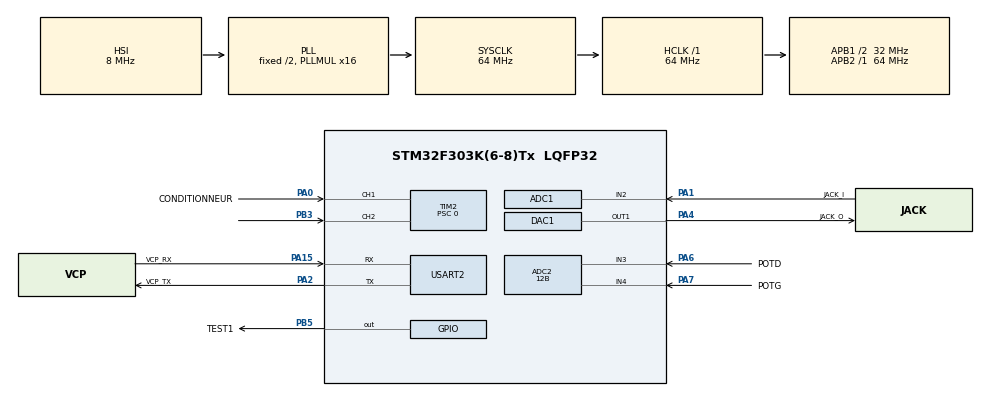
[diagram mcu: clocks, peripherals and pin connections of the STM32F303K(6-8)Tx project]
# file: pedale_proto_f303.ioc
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ADC1.Channel-0\#ChannelRegularConversion=ADC_CHANNEL_2
ADC1.ClockPrescaler=ADC_CLOCK_SYNC_PCLK_DIV4
ADC1.DMAContinuousRequests=ENABLE
ADC1.ExternalTrigConv=ADC_EXTERNALTRIGCONV_T15_TRGO
ADC1.NbrOfConversionFlag=1
ADC1.Offset-0\#ChannelRegularConversion=0
ADC1.OffsetNumber-0\#ChannelRegularConversion=ADC_OFFSET_NONE
ADC1.Rank-0\#ChannelRegularConversion=1
ADC1.SamplingTime-0\#ChannelRegularConversion=ADC_SAMPLETIME_1CYCLE_5
ADC1.SubFamily=STM32F303x8
ADC1.master=1
ADC2.Channel-4\#ChannelRegularConversion=ADC_CHANNEL_4
ADC2.Channel-5\#ChannelRegularConversion=ADC_CHANNEL_3
ADC2.ClockPrescaler=ADC_CLOCK_SYNC_PCLK_DIV4
ADC2.ContinuousConvMode=DISABLE
ADC2.DiscontinuousConvMode=DISABLE
ADC2.EOCSelection=ADC_EOC_SINGLE_CONV
ADC2.EnableRegularConversion=ENABLE
ADC2.ExternalTrigConv=ADC_SOFTWARE_START
ADC2.InjNumberOfConversion=0
ADC2.NbrOfConversion=2
ADC2.NbrOfConversionFlag=1
ADC2.Offset-4\#ChannelRegularConversion=0
ADC2.Offset-5\#ChannelRegularConversion=0
ADC2.OffsetNumber-4\#ChannelRegularConversion=ADC_OFFSET_NONE
ADC2.OffsetNumber-5\#ChannelRegularConversion=ADC_OFFSET_NONE
ADC2.Overrun=ADC_OVR_DATA_OVERWRITTEN
ADC2.Rank-4\#ChannelRegularConversion=1
ADC2.Rank-5\#ChannelRegularConversion=2
ADC2.Resolution=ADC_RESOLUTION_12B
ADC2.SamplingTime-4\#ChannelRegularConversion=ADC_SAMPLETIME_601CYCLES_5
ADC2.SamplingTime-5\#ChannelRegularConversion=ADC_SAMPLETIME_601CYCLES_5
ADC2.SamplingTimeOPAMP-4\#ChannelRegularConversion=ADC_SAMPLETIME_61CYCLES_5
ADC2.SamplingTimeOPAMP-5\#ChannelRegularConversion=ADC_SAMPLETIME_61CYCLES_5
ADC2.SubFamily=STM32F303x8
DAC1.DAC_Trigger=DAC_TRIGGER_T15_TRGO
DAC1.WaveGeneration=DISABLE
Dma.ADC1.0.Direction=DMA_PERIPH_TO_MEMORY
Dma.ADC1.0.Instance=DMA1_Channel1
Dma.ADC1.0.MemDataAlignment=DMA_MDATAALIGN_WORD
Dma.ADC1.0.MemInc=DMA_MINC_ENABLE
Dma.ADC1.0.Mode=DMA_CIRCULAR
Dma.ADC1.0.PeriphDataAlignment=DMA_PDATAALIGN_HALFWORD
Dma.ADC1.0.PeriphInc=DMA_PINC_DISABLE
Dma.ADC1.0.Priority=DMA_PRIORITY_LOW
Dma.ADC2.2.Direction=DMA_PERIPH_TO_MEMORY
Dma.ADC2.2.Instance=DMA1_Channel2
Dma.ADC2.2.MemDataAlignment=DMA_MDATAALIGN_WORD
Dma.ADC2.2.MemInc=DMA_MINC_ENABLE
Dma.ADC2.2.Mode=DMA_CIRCULAR
Dma.ADC2.2.PeriphDataAlignment=DMA_PDATAALIGN_HALFWORD
Dma.ADC2.2.PeriphInc=DMA_PINC_DISABLE
Dma.ADC2.2.Priority=DMA_PRIORITY_LOW
Dma.DAC1_CH1.1.Direction=DMA_MEMORY_TO_PERIPH
Dma.DAC1_CH1.1.Instance=DMA1_Channel3
Dma.DAC1_CH1.1.MemDataAlignment=DMA_MDATAALIGN_WORD
Dma.DAC1_CH1.1.MemInc=DMA_MINC_ENABLE
Dma.DAC1_CH1.1.Mode=DMA_CIRCULAR
Dma.DAC1_CH1.1.PeriphDataAlignment=DMA_PDATAALIGN_HALFWORD
Dma.DAC1_CH1.1.PeriphInc=DMA_PINC_DISABLE
Dma.DAC1_CH1.1.Priority=DMA_PRIORITY_LOW
Dma.Request0=ADC1
Dma.Request1=DAC1_CH1
Dma.Request2=ADC2
Mcu.Family=STM32F3
Mcu.Name=STM32F303K(6-8)Tx
Mcu.Package=LQFP32
NVIC.ADC1_2_IRQn=true\:0\:0\:false\:false\:true\:true\:true\:true
NVIC.DMA1_Channel1_IRQn=true\:0\:0\:false\:false\:true\:false\:true\:true
NVIC.DMA1_Channel2_IRQn=true\:0\:0\:false\:false\:true\:false\:true\:true
NVIC.DMA1_Channel3_IRQn=true\:0\:0\:false\:false\:true\:false\:true\:true
NVIC.PriorityGroup=NVIC_PRIORITYGROUP_4
NVIC.TIM1_BRK_TIM15_IRQn=true\:0\:0\:false\:false\:true\:true\:true\:true
NVIC.TIM2_IRQn=true\:0\:0\:false\:false\:true\:true\:true\:true
NVIC.TIM6_DAC1_IRQn=true\:0\:0\:false\:false\:true\:true\:true\:true
PA0.GPIO_Label=CONDITIONNEUR
PA0.GPIO_PuPd=GPIO_PULLDOWN
PA0.Signal=S_TIM2_CH1_ETR
PA1.GPIO_Label=JACK_I
PA1.GPIO_PuPd=GPIO_NOPULL
PA1.Mode=IN2-Single-Ended
PA1.Signal=ADC1_IN2
PA13.GPIO_Label=SWDIO
PA13.Mode=Serial_Wire
PA13.Signal=SYS_JTMS-SWDIO
PA14.GPIO_Label=SWCLK
PA14.Mode=Serial_Wire
PA14.Signal=SYS_JTCK-SWCLK
PA15.GPIO_Label=VCP_RX
PA15.Mode=Asynchronous
PA15.Signal=USART2_RX
PA2.GPIO_Label=VCP_TX
PA2.Mode=Asynchronous
PA2.Signal=USART2_TX
PA4.GPIO_Label=JACK_O
PA4.Signal=COMP_DAC11_group
PA6.GPIO_Label=POTD
PA6.GPIO_Mode=GPIO_MODE_ANALOG
PA6.GPIO_PuPd=GPIO_NOPULL
PA6.Mode=IN3-Single-Ended
PA6.Signal=ADC2_IN3
PA7.GPIO_Label=POTG
PA7.GPIO_Mode=GPIO_MODE_ANALOG
PA7.GPIO_PuPd=GPIO_NOPULL
PA7.Mode=IN4-Single-Ended
PA7.Signal=ADC2_IN4
PB3.Signal=S_TIM2_CH2
PB5.GPIO_Label=TEST1
PB5.Signal=GPIO_Output
PF0\ /\ OSC_IN.GPIO_Label=MCO
PF0\ /\ OSC_IN.Mode=HSE-External-Clock-Source
PF0\ /\ OSC_IN.Signal=RCC_OSC_IN
ProjectManager.HeapSize=0x200
ProjectManager.StackSize=0x400
ProjectManager.TargetToolchain=STM32CubeIDE
RCC.AHBFreq_Value=64000000
RCC.APB1CLKDivider=RCC_HCLK_DIV2
RCC.APB1Freq_Value=32000000
RCC.APB1TimFreq_Value=64000000
RCC.APB2Freq_Value=64000000
RCC.APB2TimFreq_Value=64000000
RCC.CortexFreq_Value=64000000
RCC.HCLKFreq_Value=64000000
RCC.HSE_VALUE=8000000
RCC.HSI_VALUE=8000000
RCC.PLLMUL=RCC_PLL_MUL16
RCC.SYSCLKFreq_VALUE=64000000
RCC.SYSCLKSourceVirtual=RCC_SYSCLKSOURCE_PLLCLK
SH.COMP_DAC11_group.0=DAC1_OUT1,DAC_OUT1
SH.S_TIM2_CH1_ETR.0=TIM2_CH1,Input_Capture1_from_TI1
SH.S_TIM2_CH2.0=TIM2_CH2,Input_Capture2_from_TI2
TIM15.Period=1557
TIM15.Prescaler=0
TIM15.TIM_MasterOutputTrigger=TIM_TRGO_UPDATE
TIM2.Channel-Input_Capture1_from_TI1=TIM_CHANNEL_1
TIM2.Channel-Input_Capture2_from_TI2=TIM_CHANNEL_2
TIM2.Prescaler=0
TIM6.AutoReloadPreload=TIM_AUTORELOAD_PRELOAD_DISABLE
TIM6.Period=64000
TIM6.Prescaler=600
TIM6.TIM_MasterOutputTrigger=TIM_TRGO_UPDATE
USART2.VirtualMode-Asynchronous=VM_ASYNC
VP_TIM15_VS_ClockSourceINT.Mode=Internal
VP_TIM2_VS_ClockSourceINT.Mode=Internal
VP_TIM6_VS_ClockSourceINT.Mode=Enable_Timer
board=NUCLEO-F303K8

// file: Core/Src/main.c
/* USER CODE BEGIN Header */
/**
  ******************************************************************************
  * @file           : main.c
  * @brief          : Main program body
  ******************************************************************************
  * @attention
  *
  * Copyright (c) 2024 STMicroelectronics.
  * All rights reserved.
  *
  * This software is licensed under terms that can be found in the LICENSE file
  * in the root directory of this software component.
  * If no LICENSE file comes with this software, it is provided AS-IS.
  *
  ******************************************************************************
  */
/* USER CODE END Header */
#include "main.h"

/* USER CODE BEGIN Includes */
#include <math.h>
#include <stdbool.h>
/* USER CODE END Includes */

/* USER CODE BEGIN PTD */

//-----------------------------------------------------------------------------------------------------------*/
// structure de distortion
typedef struct{
	int disto_mode;
	float clipping;
	float gain ;
	float clipping_coef;
}distortion;

//structure flanger
typedef struct{
	int flanger_mode;
	float rate;
	float depth;
	float delay;
    int effect_num;
}flanger;

//structure delay
typedef struct{
    int delay_mode;
    int depth;
    float delay;
    int effect_num;
}delay;

typedef struct{
    int wahwah_mode;
    float rate;
    float depth;
    float minFreq;
    float maxFreq;
    int effect_num;
} wahwah;

typedef struct{
    int tremolo_mode;
    float rate;
    float depth;
    int effect_num;
} tremolo;

typedef struct{
    int vibrato_mode;
    float rate;
    float depth;
    float delay;
    int effect_num;
} vibrato;

/* USER CODE END PTD */

/* USER CODE BEGIN PD */

//define -----------------------------------------------------------------------------------------------------------*/
#define N 500
#define halfN 250
#define NBR_SAMPLES 50
#define OFFSET_SIGNAL 1980//was 1983
#define PI 3.1415

/* USER CODE END PD */

ADC_HandleTypeDef hadc1;
ADC_HandleTypeDef hadc2;
DMA_HandleTypeDef hdma_adc1;
DMA_HandleTypeDef hdma_adc2;

DAC_HandleTypeDef hdac1;
DMA_HandleTypeDef hdma_dac1_ch1;

TIM_HandleTypeDef htim2;
TIM_HandleTypeDef htim6;
TIM_HandleTypeDef htim15;

UART_HandleTypeDef huart2;

/* USER CODE BEGIN PV */
// création des buffers
uint32_t adc_buffer[N];
uint32_t dac_buffer[N];

uint32_t pot_values[N];

int Temps, frequency;
int cnt = 0;

unsigned int t = 0;
int counter_cos = 0, internal_counter_cos = 0;

int ADC_counter = 0;

int pot1;

float test;
//int cos_frequency = 50;

float cos_values[360];
float sin_values[360];
//ADC_ChannelConfTypeDef ADC_config;

volatile uint32_t last_clock = 0;
volatile uint32_t current_clock = 0;
volatile uint8_t i = 0;
volatile uint8_t calcul_open =0;
volatile int difference = 0;
volatile int capacite_pF = 0;
volatile int frequence = 0;
volatile int periode_ns = 0;

//int pot_values[0] = 0, potd_value = 0;
int pot_selector = false;

// initialisation des effets -----------------------------------------------------------------------------------------------------------*/
distortion Disto = {1, 10.0f, 150.0f,1000.0f};
flanger Flanger = {1, 0.5f, 20.0f, 1.0f, 2};
delay Delay = {1, 50, 500.0f, 3};
wahwah Wahwah = {1, 4.0f, 70.0f, 100.0f, 1000.0f, 4};
tremolo Tremolo = {1, 50.0f, 20.0f, 5}; //{1, 5.0f, 50.0f, 5};
vibrato Vibrato = {1, 5.0f, 50.0f, 5.0f, 6};

/* USER CODE END PV */

void SystemClock_Config(void);
static void MX_GPIO_Init(void);
static void MX_DMA_Init(void);
static void MX_USART2_UART_Init(void);
static void MX_TIM2_Init(void);
static void MX_DAC1_Init(void);
static void MX_ADC1_Init(void);
static void MX_TIM15_Init(void);
static void MX_ADC2_Init(void);
static void MX_TIM6_Init(void);

int main(void)
{

  /* MCU Configuration--------------------------------------------------------*/

  /* Reset of all peripherals, Initializes the Flash interface and the Systick. */
  HAL_Init();

  /* Configure the system clock */
  SystemClock_Config();

  /* Initialize all configured peripherals */
  MX_GPIO_Init();
  MX_DMA_Init();
  MX_USART2_UART_Init();
  MX_TIM2_Init();
  MX_DAC1_Init();
  MX_ADC1_Init();
  MX_TIM15_Init();
  MX_ADC2_Init();
  MX_TIM6_Init();
  /* USER CODE BEGIN 2 */

  // initialisation de l'effet
  //distortion_init();

  // démarrage des buffers et des timers
  HAL_ADC_Start_DMA(&hadc1, adc_buffer, N);
  HAL_DAC_Start_DMA(&hdac1, DAC_CHANNEL_1, dac_buffer, N, DAC_ALIGN_12B_R);
  //HAL_TIM_Base_Start(&htim2);

  for(int i = 0; i < 360; i++)
  {
	  cos_values[i] = cosf(i*2*PI/360);
	  sin_values[i] = sinf(i*2*PI/360);
  }

  HAL_TIM_Base_Start_IT(&htim15);
  HAL_TIM_IC_Start_IT(&htim2, TIM_CHANNEL_2);
  HAL_TIM_Base_Start_IT(&htim6);

  /* USER CODE END 2 */

  /* Infinite loop */
  /* USER CODE BEGIN WHILE */

  while (1)
  {
	  //HAL_GPIO_TogglePin(TEST1_GPIO_Port, TEST1_Pin);
	  //t += fmodf(cosfrequency*0.002270f, 6.28f);
	  // = cosfrequency*2270;
    /* USER CODE END WHILE */

  }
}

void SystemClock_Config(void)
{
  RCC_OscInitTypeDef RCC_OscInitStruct = {0};
  RCC_ClkInitTypeDef RCC_ClkInitStruct = {0};

  /** Initializes the RCC Oscillators according to the specified parameters
  * in the RCC_OscInitTypeDef structure.
  */
  RCC_OscInitStruct.OscillatorType = RCC_OSCILLATORTYPE_HSI;
  RCC_OscInitStruct.HSIState = RCC_HSI_ON;
  RCC_OscInitStruct.HSICalibrationValue = RCC_HSICALIBRATION_DEFAULT;
  RCC_OscInitStruct.PLL.PLLState = RCC_PLL_ON;
  RCC_OscInitStruct.PLL.PLLSource = RCC_PLLSOURCE_HSI;
  RCC_OscInitStruct.PLL.PLLMUL = RCC_PLL_MUL16;
  if (HAL_RCC_OscConfig(&RCC_OscInitStruct) != HAL_OK)
  {
    Error_Handler();
  }

  /** Initializes the CPU, AHB and APB buses clocks
  */
  RCC_ClkInitStruct.ClockType = RCC_CLOCKTYPE_HCLK|RCC_CLOCKTYPE_SYSCLK
                              |RCC_CLOCKTYPE_PCLK1|RCC_CLOCKTYPE_PCLK2;
  RCC_ClkInitStruct.SYSCLKSource = RCC_SYSCLKSOURCE_PLLCLK;
  RCC_ClkInitStruct.AHBCLKDivider = RCC_SYSCLK_DIV1;
  RCC_ClkInitStruct.APB1CLKDivider = RCC_HCLK_DIV2;
  RCC_ClkInitStruct.APB2CLKDivider = RCC_HCLK_DIV1;

  if (HAL_RCC_ClockConfig(&RCC_ClkInitStruct, FLASH_LATENCY_2) != HAL_OK)
  {
    Error_Handler();
  }
}

static void MX_ADC1_Init(void)
{

  ADC_MultiModeTypeDef multimode = {0};
  ADC_ChannelConfTypeDef sConfig = {0};

  /** Common config
  */
  hadc1.Instance = ADC1;
  hadc1.Init.ClockPrescaler = ADC_CLOCK_SYNC_PCLK_DIV4;
  hadc1.Init.Resolution = ADC_RESOLUTION_12B;
  hadc1.Init.ScanConvMode = ADC_SCAN_DISABLE;
  hadc1.Init.ContinuousConvMode = DISABLE;
  hadc1.Init.DiscontinuousConvMode = DISABLE;
  hadc1.Init.ExternalTrigConvEdge = ADC_EXTERNALTRIGCONVEDGE_RISING;
  hadc1.Init.ExternalTrigConv = ADC_EXTERNALTRIGCONV_T15_TRGO;
  hadc1.Init.DataAlign = ADC_DATAALIGN_RIGHT;
  hadc1.Init.NbrOfConversion = 1;
  hadc1.Init.DMAContinuousRequests = ENABLE;
  hadc1.Init.EOCSelection = ADC_EOC_SINGLE_CONV;
  hadc1.Init.LowPowerAutoWait = DISABLE;
  hadc1.Init.Overrun = ADC_OVR_DATA_OVERWRITTEN;
  if (HAL_ADC_Init(&hadc1) != HAL_OK)
  {
    Error_Handler();
  }

  /** Configure the ADC multi-mode
  */
  multimode.Mode = ADC_MODE_INDEPENDENT;
  if (HAL_ADCEx_MultiModeConfigChannel(&hadc1, &multimode) != HAL_OK)
  {
    Error_Handler();
  }

  /** Configure Regular Channel
  */
  sConfig.Channel = ADC_CHANNEL_2;
  sConfig.Rank = ADC_REGULAR_RANK_1;
  sConfig.SingleDiff = ADC_SINGLE_ENDED;
  sConfig.SamplingTime = ADC_SAMPLETIME_1CYCLE_5;
  sConfig.OffsetNumber = ADC_OFFSET_NONE;
  sConfig.Offset = 0;
  if (HAL_ADC_ConfigChannel(&hadc1, &sConfig) != HAL_OK)
  {
    Error_Handler();
  }
  /* USER CODE BEGIN ADC1_Init 2 */
  //ADC_config = sConfig;
  /* USER CODE END ADC1_Init 2 */

}

static void MX_ADC2_Init(void)
{

  ADC_ChannelConfTypeDef sConfig = {0};

  /** Common config
  */
  hadc2.Instance = ADC2;
  hadc2.Init.ClockPrescaler = ADC_CLOCK_SYNC_PCLK_DIV4;
  hadc2.Init.Resolution = ADC_RESOLUTION_12B;
  hadc2.Init.ScanConvMode = ADC_SCAN_ENABLE;
  hadc2.Init.ContinuousConvMode = DISABLE;
  hadc2.Init.DiscontinuousConvMode = DISABLE;
  hadc2.Init.ExternalTrigConvEdge = ADC_EXTERNALTRIGCONVEDGE_NONE;
  hadc2.Init.ExternalTrigConv = ADC_SOFTWARE_START;
  hadc2.Init.DataAlign = ADC_DATAALIGN_RIGHT;
  hadc2.Init.NbrOfConversion = 2;
  hadc2.Init.DMAContinuousRequests = DISABLE;
  hadc2.Init.EOCSelection = ADC_EOC_SINGLE_CONV;
  hadc2.Init.LowPowerAutoWait = DISABLE;
  hadc2.Init.Overrun = ADC_OVR_DATA_OVERWRITTEN;
  if (HAL_ADC_Init(&hadc2) != HAL_OK)
  {
    Error_Handler();
  }

  /** Configure Regular Channel
  */
  sConfig.Channel = ADC_CHANNEL_4;
  sConfig.Rank = ADC_REGULAR_RANK_1;
  sConfig.SingleDiff = ADC_SINGLE_ENDED;
  sConfig.SamplingTime = ADC_SAMPLETIME_601CYCLES_5;
  sConfig.OffsetNumber = ADC_OFFSET_NONE;
  sConfig.Offset = 0;
  if (HAL_ADC_ConfigChannel(&hadc2, &sConfig) != HAL_OK)
  {
    Error_Handler();
  }

  /** Configure Regular Channel
  */
  sConfig.Channel = ADC_CHANNEL_3;
  sConfig.Rank = ADC_REGULAR_RANK_2;
  if (HAL_ADC_ConfigChannel(&hadc2, &sConfig) != HAL_OK)
  {
    Error_Handler();
  }

}

static void MX_DAC1_Init(void)
{

  DAC_ChannelConfTypeDef sConfig = {0};

  /** DAC Initialization
  */
  hdac1.Instance = DAC1;
  if (HAL_DAC_Init(&hdac1) != HAL_OK)
  {
    Error_Handler();
  }

  /** DAC channel OUT1 config
  */
  sConfig.DAC_Trigger = DAC_TRIGGER_T15_TRGO;
  sConfig.DAC_OutputBuffer = DAC_OUTPUTBUFFER_ENABLE;
  if (HAL_DAC_ConfigChannel(&hdac1, &sConfig, DAC_CHANNEL_1) != HAL_OK)
  {
    Error_Handler();
  }

}

static void MX_TIM2_Init(void)
{

  TIM_ClockConfigTypeDef sClockSourceConfig = {0};
  TIM_MasterConfigTypeDef sMasterConfig = {0};
  TIM_IC_InitTypeDef sConfigIC = {0};

  htim2.Instance = TIM2;
  htim2.Init.Prescaler = 0;
  htim2.Init.CounterMode = TIM_COUNTERMODE_UP;
  htim2.Init.Period = 4294967295;
  htim2.Init.ClockDivision = TIM_CLOCKDIVISION_DIV1;
  htim2.Init.AutoReloadPreload = TIM_AUTORELOAD_PRELOAD_DISABLE;
  if (HAL_TIM_Base_Init(&htim2) != HAL_OK)
  {
    Error_Handler();
  }
  sClockSourceConfig.ClockSource = TIM_CLOCKSOURCE_INTERNAL;
  if (HAL_TIM_ConfigClockSource(&htim2, &sClockSourceConfig) != HAL_OK)
  {
    Error_Handler();
  }
  if (HAL_TIM_IC_Init(&htim2) != HAL_OK)
  {
    Error_Handler();
  }
  sMasterConfig.MasterOutputTrigger = TIM_TRGO_RESET;
  sMasterConfig.MasterSlaveMode = TIM_MASTERSLAVEMODE_DISABLE;
  if (HAL_TIMEx_MasterConfigSynchronization(&htim2, &sMasterConfig) != HAL_OK)
  {
    Error_Handler();
  }
  sConfigIC.ICPolarity = TIM_INPUTCHANNELPOLARITY_RISING;
  sConfigIC.ICSelection = TIM_ICSELECTION_DIRECTTI;
  sConfigIC.ICPrescaler = TIM_ICPSC_DIV1;
  sConfigIC.ICFilter = 0;
  if (HAL_TIM_IC_ConfigChannel(&htim2, &sConfigIC, TIM_CHANNEL_1) != HAL_OK)
  {
    Error_Handler();
  }
  if (HAL_TIM_IC_ConfigChannel(&htim2, &sConfigIC, TIM_CHANNEL_2) != HAL_OK)
  {
    Error_Handler();
  }

}

static void MX_TIM6_Init(void)
{

  TIM_MasterConfigTypeDef sMasterConfig = {0};

  htim6.Instance = TIM6;
  htim6.Init.Prescaler = 600;
  htim6.Init.CounterMode = TIM_COUNTERMODE_UP;
  htim6.Init.Period = 64000;
  htim6.Init.AutoReloadPreload = TIM_AUTORELOAD_PRELOAD_DISABLE;
  if (HAL_TIM_Base_Init(&htim6) != HAL_OK)
  {
    Error_Handler();
  }
  sMasterConfig.MasterOutputTrigger = TIM_TRGO_UPDATE;
  sMasterConfig.MasterSlaveMode = TIM_MASTERSLAVEMODE_DISABLE;
  if (HAL_TIMEx_MasterConfigSynchronization(&htim6, &sMasterConfig) != HAL_OK)
  {
    Error_Handler();
  }

}

static void MX_TIM15_Init(void)
{

  TIM_ClockConfigTypeDef sClockSourceConfig = {0};
  TIM_MasterConfigTypeDef sMasterConfig = {0};

  htim15.Instance = TIM15;
  htim15.Init.Prescaler = 0;
  htim15.Init.CounterMode = TIM_COUNTERMODE_UP;
  htim15.Init.Period = 1557;
  htim15.Init.ClockDivision = TIM_CLOCKDIVISION_DIV1;
  htim15.Init.RepetitionCounter = 0;
  htim15.Init.AutoReloadPreload = TIM_AUTORELOAD_PRELOAD_DISABLE;
  if (HAL_TIM_Base_Init(&htim15) != HAL_OK)
  {
    Error_Handler();
  }
  sClockSourceConfig.ClockSource = TIM_CLOCKSOURCE_INTERNAL;
  if (HAL_TIM_ConfigClockSource(&htim15, &sClockSourceConfig) != HAL_OK)
  {
    Error_Handler();
  }
  sMasterConfig.MasterOutputTrigger = TIM_TRGO_UPDATE;
  sMasterConfig.MasterSlaveMode = TIM_MASTERSLAVEMODE_DISABLE;
  if (HAL_TIMEx_MasterConfigSynchronization(&htim15, &sMasterConfig) != HAL_OK)
  {
    Error_Handler();
  }

}

static void MX_USART2_UART_Init(void)
{

  huart2.Instance = USART2;
  huart2.Init.BaudRate = 38400;
  huart2.Init.WordLength = UART_WORDLENGTH_8B;
  huart2.Init.StopBits = UART_STOPBITS_1;
  huart2.Init.Parity = UART_PARITY_NONE;
  huart2.Init.Mode = UART_MODE_TX_RX;
  huart2.Init.HwFlowCtl = UART_HWCONTROL_NONE;
  huart2.Init.OverSampling = UART_OVERSAMPLING_16;
  huart2.Init.OneBitSampling = UART_ONE_BIT_SAMPLE_DISABLE;
  huart2.AdvancedInit.AdvFeatureInit = UART_ADVFEATURE_NO_INIT;
  if (HAL_UART_Init(&huart2) != HAL_OK)
  {
    Error_Handler();
  }

}

static void MX_DMA_Init(void)
{

  /* DMA controller clock enable */
  __HAL_RCC_DMA1_CLK_ENABLE();

  /* DMA interrupt init */
  /* DMA1_Channel1_IRQn interrupt configuration */
  HAL_NVIC_SetPriority(DMA1_Channel1_IRQn, 0, 0);
  HAL_NVIC_EnableIRQ(DMA1_Channel1_IRQn);
  /* DMA1_Channel2_IRQn interrupt configuration */
  HAL_NVIC_SetPriority(DMA1_Channel2_IRQn, 0, 0);
  HAL_NVIC_EnableIRQ(DMA1_Channel2_IRQn);
  /* DMA1_Channel3_IRQn interrupt configuration */
  HAL_NVIC_SetPriority(DMA1_Channel3_IRQn, 0, 0);
  HAL_NVIC_EnableIRQ(DMA1_Channel3_IRQn);

}

static void MX_GPIO_Init(void)
{
  GPIO_InitTypeDef GPIO_InitStruct = {0};

  /* GPIO Ports Clock Enable */
  __HAL_RCC_GPIOF_CLK_ENABLE();
  __HAL_RCC_GPIOA_CLK_ENABLE();
  __HAL_RCC_GPIOB_CLK_ENABLE();

  /*Configure GPIO pin Output Level */
  HAL_GPIO_WritePin(TEST1_GPIO_Port, TEST1_Pin, GPIO_PIN_RESET);

  /*Configure GPIO pin : TEST1_Pin */
  GPIO_InitStruct.Pin = TEST1_Pin;
  GPIO_InitStruct.Mode = GPIO_MODE_OUTPUT_PP;
  GPIO_InitStruct.Pull = GPIO_NOPULL;
  GPIO_InitStruct.Speed = GPIO_SPEED_FREQ_LOW;
  HAL_GPIO_Init(TEST1_GPIO_Port, &GPIO_InitStruct);

}

/* USER CODE BEGIN 4 */

// -------------------------------------------------------------------------------------------------------------------*/
//disto
void distortion_processBuffer(uint32_t* inputData, uint32_t* outputData){

	// si la disto est activée
	if(Disto.disto_mode)
	{
		//float gain = Disto.gain/100;
		//float clipping = Disto.clipping;

		//int16_t high_threshold = 100.0f; //10000.0f - ((clipping/100) * Disto.clipping_coef);
		//int16_t high_threshold = 100 - capacite_pF;
		//int16_t low_threshold = - high_threshold; //1950.0f; // 2900.0f pour amp500mV
		int16_t min_threshold = 20;
		int16_t max_threshold = 50 + (4096 - pot_values[1])*200/4096;//seuil max entre 50 et 250
		int16_t high_threshold = max_threshold - capacite_pF*(max_threshold-min_threshold)/100;
		int16_t low_threshold = - high_threshold; //1950.0f; // 2900.0f pour amp500mV

		for(int i = 0; i < N; i++)
		{
			// get current sample
			int32_t sample = (int32_t)inputData[i];

			int32_t AC_signal = sample - OFFSET_SIGNAL;

			//on applique le gains
			int16_t AC_signal_amplified = (int16_t)((float)AC_signal * (Disto.gain / 100.0f));

			 // clipping
			 if (AC_signal_amplified > high_threshold)
			 {
				 AC_signal_amplified = high_threshold;
			  }
			  else if (AC_signal_amplified < low_threshold) //
			  {
				  AC_signal_amplified = low_threshold;
			  }

			// send to output
			outputData[i] = (int32_t)AC_signal_amplified + OFFSET_SIGNAL;
		}
	}
}

void directloopback_processBuffer(uint32_t* inputData, uint32_t* outputData){
		for(int i = 0; i < N; i++)
		{
			outputData[i] = inputData[i];
		}
}
//flanger--------------------------------------------------------------------------------
/*void flanger_processBuffer(uint32_t* inputData, uint32_t* outputData, int offset){

	if(Flanger.flanger_mode)
	{
		static float phase = 0;

		uint16_t maxDelay  = (Flanger.delay*fe)/1000;
		float lfoFreq = Flanger.rate;
		float lfoDepth = (Flanger.depth/100.0f);

		for(int i = offset; i < offset+halfN; i++)
		{
			// indice courant
			int32_t sample = (int32_t)inputData[i];

			int32_t AC_signal = sample - OFFSET_SIGNAL;

			// delay modulé
			uint16_t delaySamples = (uint16_t)(1+(maxDelay/2)*(1-(lfoDepth * cosf(2*PI*phase)))); //arm_cos_f32 ?

			// indice delay
			int16_t prevSample = (int16_t)inputData[(i + N - delaySamples) % N];

			// envoi sortie
			int16_t AC_transformed = (AC_signal+prevSample)/2;

			outputData[i] = (uint32_t) ( AC_transformed + OFFSET_SIGNAL);

			// maj phase
			phase =  fmodf(phase + lfoFreq / fe,1);
		}
	}
}*/

//delay --------------------------------------------------------------------------------
/*void delay_processBuffer(uint32_t* inputData, uint32_t* outputData, int offset)
{
	uint16_t delaySamples = (Delay.delay*fe)/1000;//fe = 44100
	float feedbackGain = (Delay.depth/100.0f);

	if(Delay.delay_mode)
	{
		for(int i = offset; i < offset +halfN; i++)
		{
			// current sample
			int32_t sample =  (int32_t)inputData[i];

			int32_t AC_signal = sample - OFFSET_SIGNAL;

			// previous sample
			int32_t prevSample = (int32_t)inputData[(i + N - delaySamples) % N];

			// apply feedback gain
			prevSample *= feedbackGain;

            int32_t AC_transformed = (AC_signal + prevSample);

			// mix samples together
			outputData[i] = (uint32_t) (AC_transformed + OFFSET_SIGNAL);
		}
	}
}*/

//tremolo --------------------------------------------------------------------------------
void tremolo_processBuffer(uint32_t* inputData, uint32_t* outputData)
{
	if(Tremolo.tremolo_mode)
	{
		//float phase = 0; // à mettre dans la structure
		float lfoFreq = 1 + (4095.0f - pot_values[1])*100.0f/4096.0f;//Tremolo.rate;
		float lfoDepth = 0.4f + (100.0f-capacite_pF)/200.0f;//(Tremolo.depth/100.0f);
		if(lfoDepth<0.5f)
			lfoDepth = 0.5f;
		//static float phase = 0.0f;
		//float before_sample;
		float sample;//, cosvalue;
		//cosfrequency = lfoFreq;
		for(int i = 0; i < N ; i++) //offset, offset+halfN
		{
			// get current sample
			//float sample = (int32_t)inputData[i];

			// modulate sample volume with lfo
			//sample *= (1.0f-lfoDepth) + lfoDepth * cosf(2.0f*3.14f*t*lfoFreq); //arm_cos_f32 // cosf(2.0f*PI*phase)

			//outputData[i] = sample*(uint32_t)(1.0f-lfoDepth) + lfoDepth * cosf(t) + OFFSET_SIGNAL;
			//outputData[i]
			//counter_cos = fmodf(counter_cos + cosfrequency*0.0000002270f, 6.28f);
			//cosvalue = cosf(counter_cos);
			//float sample = inputData[i];

			//cosvalue = cos_values[counter_cos];
			if(internal_counter_cos >= (int)(1050/lfoFreq))//21 need to be the center, slowest is
			{
				counter_cos++;
				internal_counter_cos = 0;
			}
			internal_counter_cos++;

			//la variable a tendance à passer à une valeur très grande
			if(counter_cos == 360)
				counter_cos = 0;

			sample = ((float)inputData[i] - (float)OFFSET_SIGNAL);
			sample *= ((1.0f-lfoDepth) + lfoDepth * cos_values[counter_cos]);
			//outputData[i] = 50*cosvalue + 1000;//
			outputData[i] = (uint32_t)(sample + OFFSET_SIGNAL);//(uint32_t)(500*cosvalue + 1000);
			//outputData[i] = (uint32_t)(cosvalue*500  + OFFSET_SIGNAL);//(uint32_t)(500*cosvalue + 1000);
			//HAL_GPIO_TogglePin(TEST1_GPIO_Port, TEST1_Pin);
			// update phase
			//t =  fmodf(t + (lfoFreq / ((float)fe)), 3.14f);

		}

	}
}

//vibrato --------------------------------------------------------------------------------

/*void vibrato_processBuffer(uint32_t* inputData, uint32_t* outputData, int offset)
{
	if(Vibrato.vibrato_mode)
	{
		static float phase = 0;
		uint16_t maxDelay  = ((Vibrato.delay)*fe)/1000;
		float lfoFreq = Vibrato.rate;
		float lfoDepth = (Vibrato.depth/100.0f);

		for(int i = offset; i < offset+halfN; i++)
		{
			// get the modulated delay
			uint16_t delaySamples = (uint16_t)(1+(maxDelay/2)*(1-(lfoDepth * cosf(2*PI*phase)))); //arm_cos_f32

			// get the delayed sample
			int16_t prevSample = (int16_t)inputData[(i + N - delaySamples) % N];

			// send to output
			outputData[i] = (uint32_t) prevSample;

			// update phase
			phase =  fmodf(phase + lfoFreq / fe,1);
		}
	}
}*/

//wah wah --------------------------------------------------------------------------------
//coeffs passe bande actuels
static float bp_a0, bp_a1, bp_a2, bp_b0, bp_b1, bp_b2;

// coeffs passe bande précédents
static float bp_x1, bp_x2, bp_y1, bp_y2;

static float currentCutoff = 440.0f; // fréquence de coupure du filtre
static float qFactor = 2.3f; // facteur de qualité du filtre

void new_bandpass()
{
    //int omega_deg = 360.0f*PI * currentCutoff / 44100.0f;//simplif du 2 dans 360/2Pi * 2.0f
    float omega = 2.0f*(float)PI*currentCutoff / 44100.0f;
	float cosomega = (float)cosf((float)omega); //arm_cos_f32
    //float cosomega = (float)cos_values[omega_deg];//reste sinus à faire
    //PROBLEME Vis à vis de cette ligne, le cos fait planter le compteur.
    //Le mieux serait d'utiliser la matrice de cos pour le calculer

   // float cosomega = cos_values[360*omega/(2*PI)] //arm_cos_f32

    //float alpha = sin_values[omega_deg] / (2.0f * qFactor); //arm_sin_f32
	float alpha = (float)sinf((float)omega) / (2.0f * qFactor);

    bp_b0 = alpha;
    bp_b1 = 0;
    bp_b2 = -alpha;
    bp_a0 = 1 + alpha;
    bp_a1 = -2 * cosomega;
    bp_a2 = 1 - alpha;
}

int16_t apply_bandpass(int16_t inSample)
{
    float x0 = (float)inSample;
    float result =
        (bp_b0 / bp_a0) * x0 +
        (bp_b1 / bp_a0) * bp_x1 +
        (bp_b2 / bp_a0) * bp_x2 -
        (bp_a1 / bp_a0) * bp_y1 -
        (bp_a2 / bp_a0) * bp_y2;

    // shift x1 to x2, sample to x1
    // shift y1 to y2, result to y1
    // simulate delay!!
    bp_x2 = bp_x1;
    bp_x1 = x0;
    bp_y2 = bp_y1;
    bp_y1 = result;

    return (int16_t)result;
}

void wahwah_processBuffer(uint32_t* inputData, uint32_t* outputData)
{
	if(Wahwah.wahwah_mode)
	{
		//static float phase = 0;
		//float lfoFreq = Wahwah.rate;
		//float lfoDepth = Wahwah.depth/100.0f;
		float G = (float)(4096 - pot_values[1])*5.0f/4096.0f;//gain entre 0 et 5

		for(int i = 0; i < N; i++)
		{
			// update phase
			//phase = fmodf((phase + lfoFreq / fe), 1);

			// get triangle lfo sample
			//float lfoSample = phase < 0.5 ? phase * 4 - 1 : 3 - 4 * phase;

			// modulate bandpass cutoff
			//currentCutoff = (float)((lfoSample * lfoDepth * centreFreq) + centreFreq);
			currentCutoff = (float)(Wahwah.minFreq + (Wahwah.maxFreq - Wahwah.minFreq)*capacite_pF / 100.0f);//T

			// update bandpass filter
			new_bandpass();

			// get current sample
			int16_t sample = (int16_t) (inputData[i] - OFFSET_SIGNAL);

			// apply bandpass filter to current sample
			sample = apply_bandpass(sample);

			// send to output
			outputData[i] = (uint32_t) ((float)sample*G + OFFSET_SIGNAL);

		}
	}
}

//-----------------------------------------------------------------------------------------------------------------------------*/
// le buffer est à moitié plein
/*void HAL_ADC_ConvHalfCpltCallback(ADC_HandleTypeDef* hadc)
{
	//distortion_processBuffer(adc_buffer, dac_buffer, 0);
	//tremolo_processBuffer(adc_buffer, dac_buffer, 0);

	for( int n=0; n<halfN;n++)
	{
	dac_buffer[n] = adc_buffer[n];	// disto
	}

}*/

// le buffer plein
void HAL_ADC_ConvCpltCallback(ADC_HandleTypeDef* hadc)
{
	if(hadc == &hadc1)
	{
		HAL_GPIO_TogglePin(TEST1_GPIO_Port, TEST1_Pin);
		//distortion_processBuffer(adc_buffer, dac_buffer);
		//wahwah_processBuffer(adc_buffer, dac_buffer);//ATTENTION, bloque le compteur pour le conditionneur
		//tremolo_processBuffer(adc_buffer, dac_buffer);
		//directloopback_processBuffer(adc_buffer, dac_buffer);

		if( pot_values[0] >= 3750)//
		{
			/*for( int n=0; n<N;n++)
			{
				 dac_buffer[n] = adc_buffer[n];

			}*/
			directloopback_processBuffer(adc_buffer, dac_buffer);
		}
		else if(3750 > pot_values[0] && pot_values[0] >= 3295)
		{
			distortion_processBuffer(adc_buffer, dac_buffer);
		}
		else if(3295 > pot_values[0] && pot_values[0] >= 2470)
		{
			tremolo_processBuffer(adc_buffer, dac_buffer);
		}
		else if(2470 >= pot_values[0] && pot_values[0] >= 1700)
		{
			wahwah_processBuffer(adc_buffer, dac_buffer);
		}
		else if(1700 > pot_values[0])
		{
			//autres effets à ajouter ici
			directloopback_processBuffer(adc_buffer, dac_buffer);
		}

	}
	/*if(hadc == &hadc2)
	{
		if(!pot_selector)//first passage
			potd_value = HAL_ADC_GetValue(&hadc2);
		else
			pot_values[0] = HAL_ADC_GetValue(&hadc2);

		pot_selector = !pot_selector;
	}*/

}

int calculate_capacity(int period) {
    // Calcul de la capacité pF en fonction de la période ms
	//int temp_capa = 0.000975619084 * period - 28.122;
	int temp_capa = 0.000975619084 * period - 49;
	if(temp_capa<0)
		temp_capa = 0;
	temp_capa = temp_capa*100 / 240;
	if(temp_capa>100)
			temp_capa = 100;//On mets entre 0 et 100 ici
    return temp_capa ;
}

void HAL_TIM_IC_CaptureCallback(TIM_HandleTypeDef *htim) {
	if(htim == &htim2)
	{
		if(i){
			last_clock = HAL_TIM_ReadCapturedValue(htim, TIM_CHANNEL_2);
			i=0;
		}
		else if(!i){
			current_clock =	HAL_TIM_ReadCapturedValue(htim, TIM_CHANNEL_2);
			difference = current_clock - last_clock;
			if(difference != 0)
				frequence = 32000000/difference;
			else
				return;
			periode_ns = difference*32;
			i=1;
			calcul_open = 1;
		}
		if (calcul_open){
			int temp_capa;
			temp_capa = calculate_capacity(periode_ns);
			if(temp_capa < 500 && temp_capa > -100)
				capacite_pF = temp_capa;
			else
			{
				HAL_GPIO_TogglePin(TEST1_GPIO_Port, TEST1_Pin);
			}
			calcul_open = 0;
		}
	}
}

void HAL_TIM_PeriodElapsedCallback(TIM_HandleTypeDef *htim)
{
	if(htim == &htim6)
	{
		//HAL_ADC_Start_IT(&hadc2);
		  HAL_ADC_Start_DMA(&hadc2, pot_values, 2);
	}
}

/* USER CODE END 4 */

void Error_Handler(void)
{
  __disable_irq();
  while (1)
  {
  }
}
